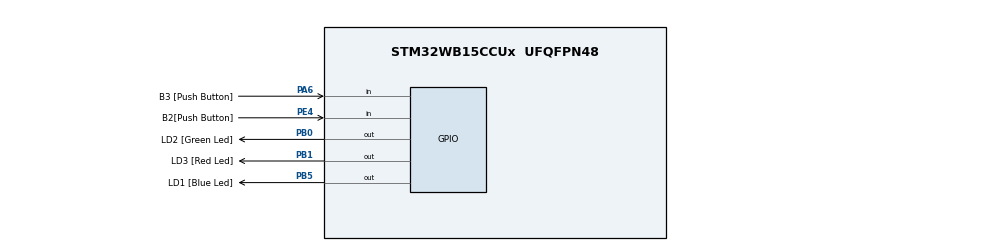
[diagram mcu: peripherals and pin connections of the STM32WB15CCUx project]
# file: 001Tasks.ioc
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Mcu.Family=STM32WB
Mcu.Name=STM32WB15CCUx
Mcu.Package=UFQFPN48
NVIC.PriorityGroup=NVIC_PRIORITYGROUP_4
NVIC.TIM2_IRQn=true\:15\:0\:false\:false\:true\:false\:true\:true
NVIC.TimeBase=TIM2_IRQn
NVIC.TimeBaseIP=TIM2
OSC_IN.Mode=HSE-External-Oscillator
OSC_IN.Signal=RCC_OSC_IN
OSC_OUT.Mode=HSE-External-Oscillator
OSC_OUT.Signal=RCC_OSC_OUT
PA0.GPIO_Label=B1 [push Button]
PA0.Mode=SYS_WakeUp0
PA0.Signal=SYS_WKUP1
PA10.GPIO_Label=STLINK_TX
PA10.Signal=USART1_RX
PA13.GPIO_Label=JTMS
PA13.Signal=SYS_JTMS-SWDIO
PA14.GPIO_Label=JTCK
PA14.Signal=SYS_JTCK-SWCLK
PA6.GPIO_Label=B3 [Push Button]
PA6.Signal=GPIO_Input
PA9.GPIO_Label=STLINK_RX
PA9.Signal=USART1_TX
PB0.GPIO_Label=LD2 [Green Led]
PB0.Signal=GPIO_Output
PB1.GPIO_Label=LD3 [Red Led]
PB1.Signal=GPIO_Output
PB3.GPIO_Label=JTDO
PB3.Signal=SYS_JTDO-SWO
PB5.GPIO_Label=LD1 [Blue Led]
PB5.Signal=GPIO_Output
PC14-OSC32_IN.Mode=LSE-External-Oscillator
PC14-OSC32_IN.Signal=RCC_OSC32_IN
PC15-OSC32_OUT.Mode=LSE-External-Oscillator
PC15-OSC32_OUT.Signal=RCC_OSC32_OUT
PE4.GPIO_Label=B2[Push Button]
PE4.Signal=GPIO_Input
ProjectManager.HeapSize=0x200
ProjectManager.StackSize=0x400
ProjectManager.TargetToolchain=STM32CubeIDE
RCC.APB3Freq_Value=16000000
RCC.HSE_VALUE=32000000
RCC.HSI_VALUE=16000000
RCC.LSE_Drive_Capability=RCC_LSEDRIVE_LOW
RCC.VCOOutputFreq_Value=32000000
VP_SYS_VS_tim2.Mode=TIM2
board=NUCLEO-WB15CC

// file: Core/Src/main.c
/* USER CODE BEGIN Header */
/**
  ******************************************************************************
  * @file           : main.c
  * @brief          : Main program body
  ******************************************************************************
  * @attention
  *
  * Copyright (c) 2023 STMicroelectronics.
  * All rights reserved.
  *
  * This software is licensed under terms that can be found in the LICENSE file
  * in the root directory of this software component.
  * If no LICENSE file comes with this software, it is provided AS-IS.
  *
  ******************************************************************************
  */
/* USER CODE END Header */
#include "main.h"

/* USER CODE BEGIN Includes */
#include "FreeRTOS.h"
#include "task.h"
#include <stdio.h>

/* USER CODE END Includes */

/* USER CODE BEGIN PV */

#define DWT_CTRL (*(volatile uint32_t*)0xE0001000)

/* USER CODE END PV */

void SystemClock_Config(void);
void PeriphCommonClock_Config(void);
static void MX_GPIO_Init(void);
/* USER CODE BEGIN PFP */
static void task1_handler(void* parameters);
static void task2_handler(void* parameters);

/* USER CODE END PFP */

int main(void)
{
  /* USER CODE BEGIN 1 */
	TaskHandle_t task1_handle;
	TaskHandle_t task2_handle;

	BaseType_t status;

  /* USER CODE END 1 */

  /* MCU Configuration--------------------------------------------------------*/

  /* Reset of all peripherals, Initializes the Flash interface and the Systick. */
  HAL_Init();

  /* Configure the system clock */
  SystemClock_Config();

/* Configure the peripherals common clocks */
  PeriphCommonClock_Config();

  /* Initialize all configured peripherals */
  MX_GPIO_Init();
  /* USER CODE BEGIN 2 */

  // Enable the CYCCNT counter for Arm Cortex M3/M4 processor register

  DWT_CTRL |= (1 << 0);

  // Call Segger APIs to start tracing
  SEGGER_SYSVIEW_Conf();
  SEGGER_SYSVIEW_Start();

  // Create tasks
  status = xTaskCreate(task1_handler,
		  "Task-1",
		  200,
		  "Hello World from Task-1",
		  2, &task1_handle);

  configASSERT(status == pdPASS);

  status = xTaskCreate(task2_handler,
		  "Task-2",
		  200,
		  "Hello World from Task-2",
		  2, &task2_handle);

  configASSERT(status == pdPASS);

  // Start the freeRTOS scheduler
  vTaskStartScheduler();

  // If the control comes here then the launch of the scheduler has failed
  // Due to insufficient memory on the heap.

  /* USER CODE END 2 */

  /* Infinite loop */
  while (1)
  {

  }
}

void SystemClock_Config(void)
{
  RCC_OscInitTypeDef RCC_OscInitStruct = {0};
  RCC_ClkInitTypeDef RCC_ClkInitStruct = {0};

  /** Configure LSE Drive Capability
  */
  HAL_PWR_EnableBkUpAccess();
  __HAL_RCC_LSEDRIVE_CONFIG(RCC_LSEDRIVE_LOW);

  /** Initializes the RCC Oscillators according to the specified parameters
  * in the RCC_OscInitTypeDef structure.
  */
  RCC_OscInitStruct.OscillatorType = RCC_OSCILLATORTYPE_HSI|RCC_OSCILLATORTYPE_HSE
                              |RCC_OSCILLATORTYPE_LSE|RCC_OSCILLATORTYPE_MSI;
  RCC_OscInitStruct.HSEState = RCC_HSE_ON;
  RCC_OscInitStruct.LSEState = RCC_LSE_ON;
  RCC_OscInitStruct.HSIState = RCC_HSI_ON;
  RCC_OscInitStruct.MSIState = RCC_MSI_ON;
  RCC_OscInitStruct.HSICalibrationValue = RCC_HSICALIBRATION_DEFAULT;
  RCC_OscInitStruct.MSICalibrationValue = RCC_MSICALIBRATION_DEFAULT;
  RCC_OscInitStruct.MSIClockRange = RCC_MSIRANGE_6;
  RCC_OscInitStruct.PLL.PLLState = RCC_PLL_NONE;
  if (HAL_RCC_OscConfig(&RCC_OscInitStruct) != HAL_OK)
  {
    Error_Handler();
  }

  /** Configure the SYSCLKSource, HCLK, PCLK1 and PCLK2 clocks dividers
  */
  RCC_ClkInitStruct.ClockType = RCC_CLOCKTYPE_HCLK4|RCC_CLOCKTYPE_HCLK2
                              |RCC_CLOCKTYPE_HCLK|RCC_CLOCKTYPE_SYSCLK
                              |RCC_CLOCKTYPE_PCLK1|RCC_CLOCKTYPE_PCLK2;
  RCC_ClkInitStruct.SYSCLKSource = RCC_SYSCLKSOURCE_MSI;
  RCC_ClkInitStruct.AHBCLKDivider = RCC_SYSCLK_DIV1;
  RCC_ClkInitStruct.APB1CLKDivider = RCC_HCLK_DIV1;
  RCC_ClkInitStruct.APB2CLKDivider = RCC_HCLK_DIV1;
  RCC_ClkInitStruct.AHBCLK2Divider = RCC_SYSCLK_DIV1;
  RCC_ClkInitStruct.AHBCLK4Divider = RCC_SYSCLK_DIV1;

  if (HAL_RCC_ClockConfig(&RCC_ClkInitStruct, FLASH_LATENCY_0) != HAL_OK)
  {
    Error_Handler();
  }

  /** Enable MSI Auto calibration
  */
  HAL_RCCEx_EnableMSIPLLMode();
}

void PeriphCommonClock_Config(void)
{
  RCC_PeriphCLKInitTypeDef PeriphClkInitStruct = {0};

  /** Initializes the peripherals clock
  */
  PeriphClkInitStruct.PeriphClockSelection = RCC_PERIPHCLK_SMPS;
  PeriphClkInitStruct.SmpsClockSelection = RCC_SMPSCLKSOURCE_HSI;
  PeriphClkInitStruct.SmpsDivSelection = RCC_SMPSCLKDIV_RANGE1;

  if (HAL_RCCEx_PeriphCLKConfig(&PeriphClkInitStruct) != HAL_OK)
  {
    Error_Handler();
  }
}

static void MX_GPIO_Init(void)
{
  GPIO_InitTypeDef GPIO_InitStruct = {0};

  /* GPIO Ports Clock Enable */
  __HAL_RCC_GPIOC_CLK_ENABLE();
  __HAL_RCC_GPIOA_CLK_ENABLE();
  __HAL_RCC_GPIOB_CLK_ENABLE();
  __HAL_RCC_GPIOE_CLK_ENABLE();

  /*Configure GPIO pin Output Level */
  HAL_GPIO_WritePin(GPIOB, LD2_Pin|LD3_Pin|LD1_Pin, GPIO_PIN_RESET);

  /*Configure GPIO pin : B3_Pin */
  GPIO_InitStruct.Pin = B3_Pin;
  GPIO_InitStruct.Mode = GPIO_MODE_INPUT;
  GPIO_InitStruct.Pull = GPIO_NOPULL;
  HAL_GPIO_Init(B3_GPIO_Port, &GPIO_InitStruct);

  /*Configure GPIO pins : STLINK_RX_Pin STLINK_TX_Pin */
  GPIO_InitStruct.Pin = STLINK_RX_Pin|STLINK_TX_Pin;
  GPIO_InitStruct.Mode = GPIO_MODE_AF_PP;
  GPIO_InitStruct.Pull = GPIO_NOPULL;
  GPIO_InitStruct.Speed = GPIO_SPEED_FREQ_LOW;
  GPIO_InitStruct.Alternate = GPIO_AF7_USART1;
  HAL_GPIO_Init(GPIOA, &GPIO_InitStruct);

  /*Configure GPIO pins : LD2_Pin LD3_Pin LD1_Pin */
  GPIO_InitStruct.Pin = LD2_Pin|LD3_Pin|LD1_Pin;
  GPIO_InitStruct.Mode = GPIO_MODE_OUTPUT_PP;
  GPIO_InitStruct.Pull = GPIO_NOPULL;
  GPIO_InitStruct.Speed = GPIO_SPEED_FREQ_LOW;
  HAL_GPIO_Init(GPIOB, &GPIO_InitStruct);

  /*Configure GPIO pin : B2_Pin */
  GPIO_InitStruct.Pin = B2_Pin;
  GPIO_InitStruct.Mode = GPIO_MODE_INPUT;
  GPIO_InitStruct.Pull = GPIO_NOPULL;
  HAL_GPIO_Init(B2_GPIO_Port, &GPIO_InitStruct);

}

/* USER CODE BEGIN 4 */

static void task1_handler(void* parameters)
{
	char buf[100];
	while(1)
	{
		taskYIELD();
		snprintf(buf, sizeof(buf), "%s\n",(char*)parameters);
		SEGGER_SYSVIEW_PrintfTarget(buf);
	}

}

static void task2_handler(void* parameters)
{
	char buf[100];
	while(1)
	{
		printf("%s\n",(char*)parameters);
		taskYIELD();
		snprintf(buf, sizeof(buf), "%s\n",(char*)parameters);
		SEGGER_SYSVIEW_PrintfTarget(buf);
	}

}

/* USER CODE END 4 */

void HAL_TIM_PeriodElapsedCallback(TIM_HandleTypeDef *htim)
{
  if (htim->Instance == TIM2) {
    HAL_IncTick();
  }
}

void Error_Handler(void)
{
  __disable_irq();
  while (1)
  {
  }
}
